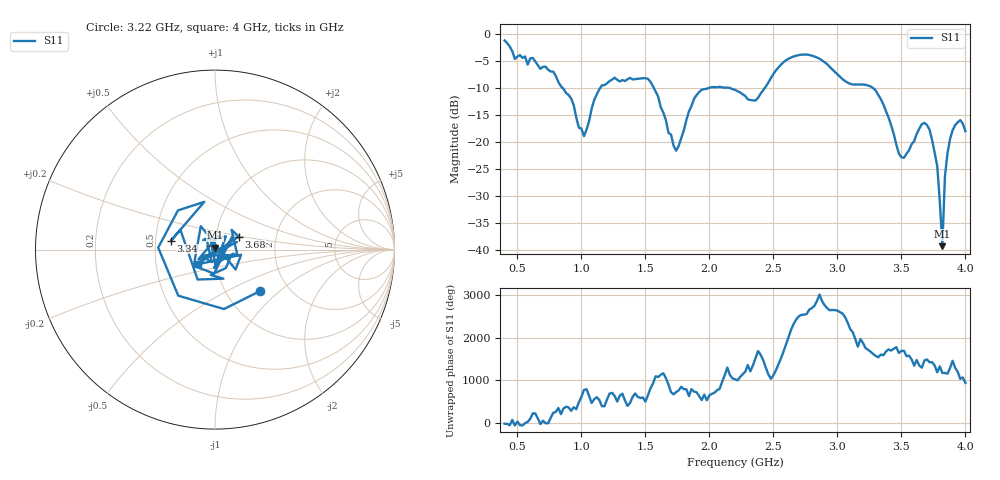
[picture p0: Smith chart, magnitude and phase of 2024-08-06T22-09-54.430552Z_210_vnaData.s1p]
!Created with skrf (http://scikit-rf.org).
# Hz S RI R 50.0
!freq ReS11 ImS11
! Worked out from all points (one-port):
!   181 points, 400 MHz to 4 GHz, reference 50 ohm
!   lowest |S11| = -39.3 dB at 3.82 GHz (marker M1), VSWR 1.02, Z = 49.9 + j1.08 ohm
!   |S11| at or under -10 dB: 855.1 MHz to 1.146 GHz (290.5 MHz wide, 29 % of centre); 1.567 GHz to 1.99 GHz (423.1 MHz wide, 23.8 % of centre); 3.28 GHz to end of sweep (the widest 3 of 4)
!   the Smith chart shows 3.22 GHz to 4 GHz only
!   S11 on the Smith chart (normalised r, x): 3.22 GHz: 1.43, -0.75; 3.34 GHz: 0.60, +0.07; 3.68 GHz: 1.29, +0.19; 4 GHz: 0.82, -0.14
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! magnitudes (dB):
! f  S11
! 400 MHz  -1.1
! 480 MHz  -4.6
! 620 MHz  -4.4
! 860 MHz  -10.1
! 1.02 GHz  -18.9
! 1.16 GHz  -9.5
! 1.3 GHz  -8.7
! 1.52 GHz  -8.3
! 1.72 GHz  -20.7
! 1.76 GHz  -20.7
! 1.92 GHz  -10.7
! 2.2 GHz  -10.3
! 2.36 GHz  -12.3
! 2.66 GHz  -4.1
! 2.86 GHz  -4.5
! 3.1 GHz  -9.2
! 3.22 GHz  -9.4
! 3.34 GHz  -12.0
! 3.48 GHz  -22.1
! 3.56 GHz  -21.5
! 3.68 GHz  -16.4
! 3.72 GHz  -17.7
! 3.78 GHz  -24.4
! 3.82 GHz  -39.3
! 3.84 GHz  -26.4
! 3.88 GHz  -19.4
! 3.96 GHz  -15.9
! 4 GHz  -18.0
